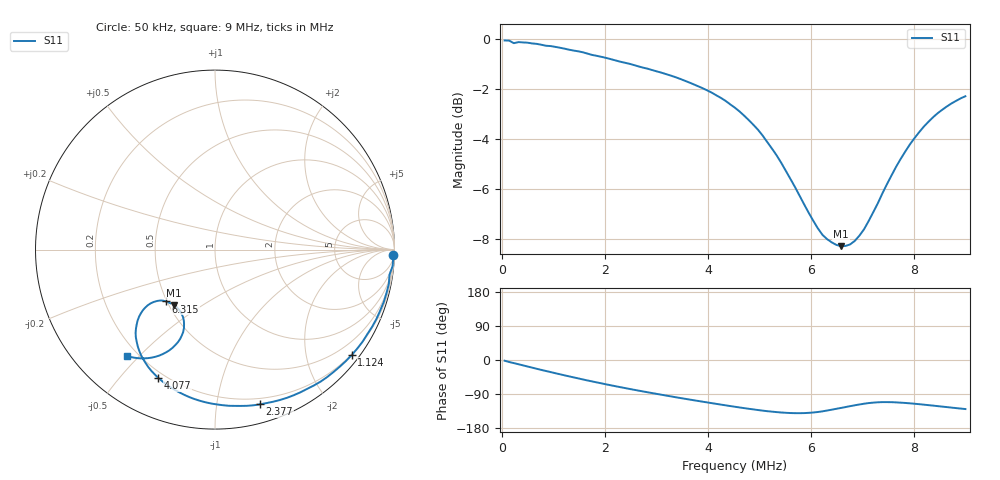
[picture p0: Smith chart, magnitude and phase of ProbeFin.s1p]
# Hz S RI R 50
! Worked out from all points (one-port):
!   101 points, 50 kHz to 9 MHz, reference 50 ohm
!   lowest |S11| = -8.3 dB at 6.583 MHz (marker M1), VSWR 2.25, Z = 26.5 - j19.3 ohm
!   |S11| at or under -10 dB: nowhere
!   S11 on the Smith chart (normalised r, x): 50 kHz: 10, -60; 1.124 MHz: 0.19, -2.92; 2.377 MHz: 0.15, -1.32; 4.077 MHz: 0.17, -0.64; 6.315 MHz: 0.49, -0.34; 9 MHz: 0.16, -0.46
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50000  0.9942 -0.0321
497500  0.9402 -0.2921
766000  0.8748 -0.4308
1124000  0.7618 -0.5873
1213500  0.7287 -0.6216
1661000  0.5496 -0.7578
2019000  0.4002 -0.8259
2287500  0.2881 -0.855
2377000  0.2517 -0.8618
2914000  0.0413 -0.8668
3451000  -0.1454 -0.8208
4077500  -0.3172 -0.714
4525000  -0.4015 -0.6084
4793500  -0.431 -0.5368
5062000  -0.4424 -0.4639
5330500  -0.4315 -0.3962
5688500  -0.389 -0.3234
6046500  -0.3238 -0.2866
6315000  -0.2725 -0.2891
6583500  -0.2288 -0.3093
6762500  -0.2044 -0.3297
7031000  -0.1783 -0.3757
7299500  -0.1729 -0.436
7568000  -0.1941 -0.4975
7926000  -0.2544 -0.5614
8194500  -0.3123 -0.5911
8463000  -0.3739 -0.6048
9000000  -0.4885 -0.5937
